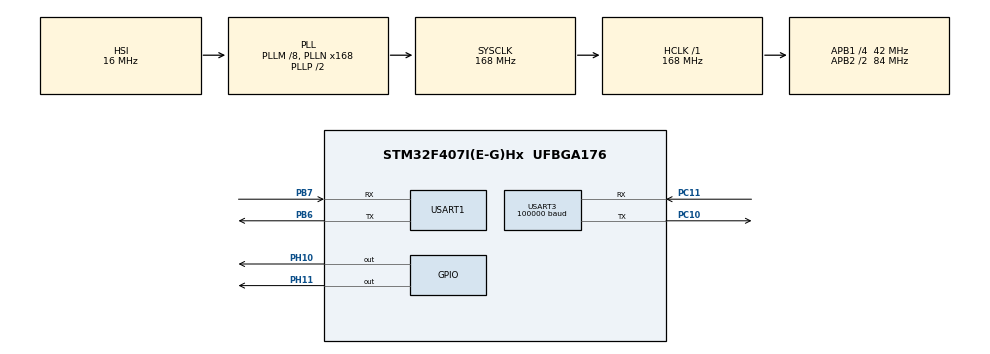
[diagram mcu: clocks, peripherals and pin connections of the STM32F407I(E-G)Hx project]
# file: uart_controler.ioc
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Dma.Request0=USART1_TX
Dma.Request1=USART3_RX
Dma.USART1_TX.0.Direction=DMA_MEMORY_TO_PERIPH
Dma.USART1_TX.0.FIFOMode=DMA_FIFOMODE_DISABLE
Dma.USART1_TX.0.Instance=DMA2_Stream7
Dma.USART1_TX.0.MemDataAlignment=DMA_MDATAALIGN_BYTE
Dma.USART1_TX.0.MemInc=DMA_MINC_ENABLE
Dma.USART1_TX.0.Mode=DMA_NORMAL
Dma.USART1_TX.0.PeriphDataAlignment=DMA_PDATAALIGN_BYTE
Dma.USART1_TX.0.PeriphInc=DMA_PINC_DISABLE
Dma.USART1_TX.0.Priority=DMA_PRIORITY_VERY_HIGH
Dma.USART3_RX.1.Direction=DMA_PERIPH_TO_MEMORY
Dma.USART3_RX.1.FIFOMode=DMA_FIFOMODE_DISABLE
Dma.USART3_RX.1.Instance=DMA1_Stream1
Dma.USART3_RX.1.MemDataAlignment=DMA_MDATAALIGN_BYTE
Dma.USART3_RX.1.MemInc=DMA_MINC_ENABLE
Dma.USART3_RX.1.Mode=DMA_NORMAL
Dma.USART3_RX.1.PeriphDataAlignment=DMA_PDATAALIGN_BYTE
Dma.USART3_RX.1.PeriphInc=DMA_PINC_DISABLE
Dma.USART3_RX.1.Priority=DMA_PRIORITY_VERY_HIGH
Mcu.Family=STM32F4
Mcu.Name=STM32F407I(E-G)Hx
Mcu.Package=UFBGA176
NVIC.DMA1_Stream1_IRQn=true\:0\:0\:false\:false\:true\:false\:true\:true
NVIC.DMA2_Stream7_IRQn=true\:0\:0\:false\:false\:true\:false\:true\:true
NVIC.PriorityGroup=NVIC_PRIORITYGROUP_4
NVIC.USART1_IRQn=true\:0\:0\:false\:false\:true\:true\:true\:true
NVIC.USART3_IRQn=true\:0\:0\:false\:false\:true\:true\:true\:true
PA13.Mode=Serial_Wire
PA13.Signal=SYS_JTMS-SWDIO
PA14.Mode=Serial_Wire
PA14.Signal=SYS_JTCK-SWCLK
PB6.Mode=Asynchronous
PB6.Signal=USART1_TX
PB7.Mode=Asynchronous
PB7.Signal=USART1_RX
PC10.Mode=Asynchronous
PC10.Signal=USART3_TX
PC11.Mode=Asynchronous
PC11.Signal=USART3_RX
PH0-OSC_IN.Mode=HSE-External-Oscillator
PH0-OSC_IN.Signal=RCC_OSC_IN
PH1-OSC_OUT.Mode=HSE-External-Oscillator
PH1-OSC_OUT.Signal=RCC_OSC_OUT
PH10.GPIO_PuPd=GPIO_PULLUP
PH10.PinState=GPIO_PIN_SET
PH10.Signal=GPIO_Output
PH11.GPIO_PuPd=GPIO_PULLUP
PH11.PinState=GPIO_PIN_SET
PH11.Signal=GPIO_Output
ProjectManager.HeapSize=0x200
ProjectManager.StackSize=0x400
ProjectManager.TargetToolchain=MDK-ARM V5.32
RCC.48MHZClocksFreq_Value=84000000
RCC.AHBFreq_Value=168000000
RCC.APB1CLKDivider=RCC_HCLK_DIV4
RCC.APB1Freq_Value=42000000
RCC.APB1TimFreq_Value=84000000
RCC.APB2CLKDivider=RCC_HCLK_DIV2
RCC.APB2Freq_Value=84000000
RCC.APB2TimFreq_Value=168000000
RCC.CortexFreq_Value=168000000
RCC.HCLKFreq_Value=168000000
RCC.HSE_VALUE=25000000
RCC.HSI_VALUE=16000000
RCC.LSE_VALUE=32768
RCC.PLLM=8
RCC.PLLN=168
RCC.SYSCLKFreq_VALUE=168000000
RCC.SYSCLKSource=RCC_SYSCLKSOURCE_PLLCLK
RCC.VCOOutputFreq_Value=336000000
USART1.VirtualMode=VM_ASYNC
USART3.BaudRate=100000
USART3.VirtualMode=VM_ASYNC
board=custom

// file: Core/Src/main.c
/* USER CODE BEGIN Header */
/**
  ******************************************************************************
  * @file           : main.c
  * @brief          : Main program body
  ******************************************************************************
  * @attention
  *
  * Copyright (c) 2025 STMicroelectronics.
  * All rights reserved.
  *
  * This software is licensed under terms that can be found in the LICENSE file
  * in the root directory of this software component.
  * If no LICENSE file comes with this software, it is provided AS-IS.
  *
  ******************************************************************************
  */
/* USER CODE END Header */
#include "main.h"
#include "dma.h"
#include "usart.h"
#include "gpio.h"

/* USER CODE BEGIN Includes */
#include "stdarg.h"
#include "stdio.h"
/* USER CODE END Includes */

/* USER CODE BEGIN PTD */
typedef struct {
    int16_t ch[5];
    uint8_t s[2];
} rc_info_t;

typedef struct {
    int16_t x;
    int16_t y;
    int16_t z;
    uint8_t press_l;
    uint8_t press_r;
} mouse_info_t;
typedef struct{
		uint16_t v;
}KEY;

typedef struct {
    rc_info_t rc;
    mouse_info_t mouse;
    KEY key;
} RC_ctrl_t;

/* USER CODE END PTD */

/* USER CODE BEGIN PD */
#define SBUS_RX_BUF_NUM 32
#define RC_FRAME_LENGTH 18
#define RC_CH_VALUE_OFFSET 1024
extern DMA_HandleTypeDef hdma_usart3_rx;
uint8_t uart1_tx_busy;
uint8_t rx1_buf[32];
uint8_t rx2_buf[32];
RC_ctrl_t rc_ctrl;
/* USER CODE END PD */

/* USER CODE BEGIN PM */
void HAL_UART_TxCpltCallback(UART_HandleTypeDef *huart){
    if(huart == &huart1){
        uart1_tx_busy = 0;
    }
}

void usart1_tx_dma_enable(uint8_t* tx_buf,uint16_t len){
	if(uart1_tx_busy)return;
	HAL_UART_Transmit_DMA(&huart1,tx_buf,len);
	uart1_tx_busy=1;
}

void RC_Init(uint8_t*rx1_buf,uint8_t*rx2_buf,uint16_t dma_buf_num){
	SET_BIT(huart3.Instance->CR3,USART_CR3_DMAR);

	__HAL_UART_ENABLE_IT(&huart3,UART_FLAG_IDLE);
	__HAL_DMA_DISABLE(&hdma_usart3_rx);

	while(hdma_usart3_rx.Instance->CR&DMA_SxCR_EN){
		__HAL_DMA_DISABLE(&hdma_usart3_rx);
	}

	hdma_usart3_rx.Instance->PAR=(uint32_t)&USART3->DR;
	hdma_usart3_rx.Instance->M0AR=(uint32_t)rx1_buf;
	hdma_usart3_rx.Instance->M1AR=(uint32_t)rx2_buf;
	hdma_usart3_rx.Instance->NDTR=dma_buf_num;

	SET_BIT(hdma_usart3_rx.Instance->CR,DMA_SxCR_DBM);
	__HAL_DMA_ENABLE(&hdma_usart3_rx);
}

void uart_printf(const char*fmt,...){

	  if(uart1_tx_busy) {
        return;
    }
		uint8_t tx_buf[256]={0};
		va_list ap;
		uint16_t len;
		va_start(ap,fmt);
		len=vsprintf((char*)tx_buf,fmt,ap);
		va_end(ap);
		usart1_tx_dma_enable(tx_buf,len);

}

static void sbus_to_rc(volatile const uint8_t *sbus_buf, RC_ctrl_t *rc_ctrl)
{
 if (sbus_buf == NULL || rc_ctrl == NULL)
 {
 return;
 }
 rc_ctrl->rc.ch[0] = (sbus_buf[0] | (sbus_buf[1] << 8)) & 0x07ff; //!< Channel 0
 rc_ctrl->rc.ch[1] = ((sbus_buf[1] >> 3) | (sbus_buf[2] << 5)) & 0x07ff; //!< Channel 1
 rc_ctrl->rc.ch[2] = ((sbus_buf[2] >> 6) | (sbus_buf[3] << 2) | //!< Channel 2
 (sbus_buf[4] << 10)) &0x07ff;
 rc_ctrl->rc.ch[3] = ((sbus_buf[4] >> 1) | (sbus_buf[5] << 7)) & 0x07ff; //!< Channel 3
 rc_ctrl->rc.s[0] = ((sbus_buf[5] >> 4) & 0x0003); //!< Switch left
 rc_ctrl->rc.s[1] = ((sbus_buf[5] >> 4) & 0x000C) >> 2; //!< Switch right
 rc_ctrl->mouse.x = sbus_buf[6] | (sbus_buf[7] << 8); //!< Mouse X axis
 rc_ctrl->mouse.y = sbus_buf[8] | (sbus_buf[9] << 8); //!< Mouse Y axis
 rc_ctrl->mouse.z = sbus_buf[10] | (sbus_buf[11] << 8); //!< Mouse Z axis
 rc_ctrl->mouse.press_l = sbus_buf[12]; //!< Mouse Left Is Press ?
 rc_ctrl->mouse.press_r = sbus_buf[13]; //!< Mouse Right Is Press ?
 rc_ctrl->key.v = sbus_buf[14] | (sbus_buf[15] << 8); //!< KeyBoard value
 rc_ctrl->rc.ch[4] = sbus_buf[16] | (sbus_buf[17] << 8); //NULL
 rc_ctrl->rc.ch[0] -= RC_CH_VALUE_OFFSET;
 rc_ctrl->rc.ch[1] -= RC_CH_VALUE_OFFSET;
 rc_ctrl->rc.ch[2] -= RC_CH_VALUE_OFFSET;
 rc_ctrl->rc.ch[3] -= RC_CH_VALUE_OFFSET;
 rc_ctrl->rc.ch[4] -= RC_CH_VALUE_OFFSET;

}
void HAL_UARTEx_RxEventCallback(UART_HandleTypeDef *huart, uint16_t Size){
	if(huart==&huart3){

//		HAL_GPIO_TogglePin(GPIOH,GPIO_PIN_10);
//		HAL_GPIO_TogglePin(GPIOH,GPIO_PIN_11);
		__HAL_DMA_DISABLE(&hdma_usart3_rx);

		static uint8_t real_time_length;

		if((hdma_usart3_rx.Instance->CR&DMA_SxCR_CT)==RESET){

			real_time_length=SBUS_RX_BUF_NUM-hdma_usart3_rx.Instance->NDTR;
			hdma_usart3_rx.Instance->NDTR=SBUS_RX_BUF_NUM;
			hdma_usart3_rx.Instance->CR |= DMA_SxCR_CT;

			if(real_time_length==RC_FRAME_LENGTH){
				sbus_to_rc(rx1_buf, &rc_ctrl);
        uart_printf("RC Ch0: %d, Ch1: %d, Ch2: %d, Ch3: %d\r\n",
                   rc_ctrl.rc.ch[0], rc_ctrl.rc.ch[1],
                   rc_ctrl.rc.ch[2], rc_ctrl.rc.ch[3]);
        uart_printf("Mouse X: %d, Y: %d, Press L: %d, R: %d\r\n",
                   rc_ctrl.mouse.x, rc_ctrl.mouse.y,
                   rc_ctrl.mouse.press_l, rc_ctrl.mouse.press_r);
        uart_printf("Key: 0x%04X, Switch L: %d, R: %d\r\n\r\n",
                   rc_ctrl.key.v, rc_ctrl.rc.s[0], rc_ctrl.rc.s[1]);
			}
			__HAL_DMA_ENABLE(&hdma_usart3_rx);
		}
		else if(hdma_usart3_rx.Instance->CR&DMA_SxCR_CT){
			real_time_length=SBUS_RX_BUF_NUM-hdma_usart3_rx.Instance->NDTR;
			hdma_usart3_rx.Instance->NDTR=SBUS_RX_BUF_NUM;
			hdma_usart3_rx.Instance->CR &= ~(DMA_SxCR_CT);

			if(real_time_length==RC_FRAME_LENGTH){
				sbus_to_rc(rx2_buf, &rc_ctrl);
        uart_printf("RC Ch0: %d, Ch1: %d, Ch2: %d, Ch3: %d\r\n",
                   rc_ctrl.rc.ch[0], rc_ctrl.rc.ch[1],
                   rc_ctrl.rc.ch[2], rc_ctrl.rc.ch[3]);
        uart_printf("Mouse X: %d, Y: %d, Press L: %d, R: %d\r\n",
                   rc_ctrl.mouse.x, rc_ctrl.mouse.y,
                   rc_ctrl.mouse.press_l, rc_ctrl.mouse.press_r);
        uart_printf("Key: 0x%04X, Switch L: %d, R: %d\r\n\r\n",
                   rc_ctrl.key.v, rc_ctrl.rc.s[0], rc_ctrl.rc.s[1]);
			}
			__HAL_DMA_ENABLE(&hdma_usart3_rx);

		}
	}
}

/* USER CODE END PM */

void SystemClock_Config(void);

int main(void)
{

  /* MCU Configuration--------------------------------------------------------*/

  /* Reset of all peripherals, Initializes the Flash interface and the Systick. */
  HAL_Init();

  /* Configure the system clock */
  SystemClock_Config();

  /* Initialize all configured peripherals */
  MX_GPIO_Init();
  MX_DMA_Init();
  MX_USART1_UART_Init();
  MX_USART3_UART_Init();
  /* USER CODE BEGIN 2 */
  RC_Init(rx1_buf, rx2_buf, SBUS_RX_BUF_NUM);

  HAL_UARTEx_ReceiveToIdle_DMA(&huart3, rx1_buf, SBUS_RX_BUF_NUM);
  /* USER CODE END 2 */

  /* Infinite loop */
  while (1)
  {

    /* USER CODE BEGIN 3 */
uart_printf("Key: 0x%04X, Switch L: %d, R: %d\r\n\r\n",
                   rc_ctrl.key.v, rc_ctrl.rc.s[0], rc_ctrl.rc.s[1]);

		HAL_Delay(250);
  }
  /* USER CODE END 3 */
}

void SystemClock_Config(void)
{
  RCC_OscInitTypeDef RCC_OscInitStruct = {0};
  RCC_ClkInitTypeDef RCC_ClkInitStruct = {0};

  /** Configure the main internal regulator output voltage
  */
  __HAL_RCC_PWR_CLK_ENABLE();
  __HAL_PWR_VOLTAGESCALING_CONFIG(PWR_REGULATOR_VOLTAGE_SCALE1);

  /** Initializes the RCC Oscillators according to the specified parameters
  * in the RCC_OscInitTypeDef structure.
  */
  RCC_OscInitStruct.OscillatorType = RCC_OSCILLATORTYPE_HSI;
  RCC_OscInitStruct.HSIState = RCC_HSI_ON;
  RCC_OscInitStruct.HSICalibrationValue = RCC_HSICALIBRATION_DEFAULT;
  RCC_OscInitStruct.PLL.PLLState = RCC_PLL_ON;
  RCC_OscInitStruct.PLL.PLLSource = RCC_PLLSOURCE_HSI;
  RCC_OscInitStruct.PLL.PLLM = 8;
  RCC_OscInitStruct.PLL.PLLN = 168;
  RCC_OscInitStruct.PLL.PLLP = RCC_PLLP_DIV2;
  RCC_OscInitStruct.PLL.PLLQ = 4;
  if (HAL_RCC_OscConfig(&RCC_OscInitStruct) != HAL_OK)
  {
    Error_Handler();
  }

  /** Initializes the CPU, AHB and APB buses clocks
  */
  RCC_ClkInitStruct.ClockType = RCC_CLOCKTYPE_HCLK|RCC_CLOCKTYPE_SYSCLK
                              |RCC_CLOCKTYPE_PCLK1|RCC_CLOCKTYPE_PCLK2;
  RCC_ClkInitStruct.SYSCLKSource = RCC_SYSCLKSOURCE_PLLCLK;
  RCC_ClkInitStruct.AHBCLKDivider = RCC_SYSCLK_DIV1;
  RCC_ClkInitStruct.APB1CLKDivider = RCC_HCLK_DIV4;
  RCC_ClkInitStruct.APB2CLKDivider = RCC_HCLK_DIV2;

  if (HAL_RCC_ClockConfig(&RCC_ClkInitStruct, FLASH_LATENCY_5) != HAL_OK)
  {
    Error_Handler();
  }
}

void Error_Handler(void)
{
  __disable_irq();
  while (1)
  {
  }
}
